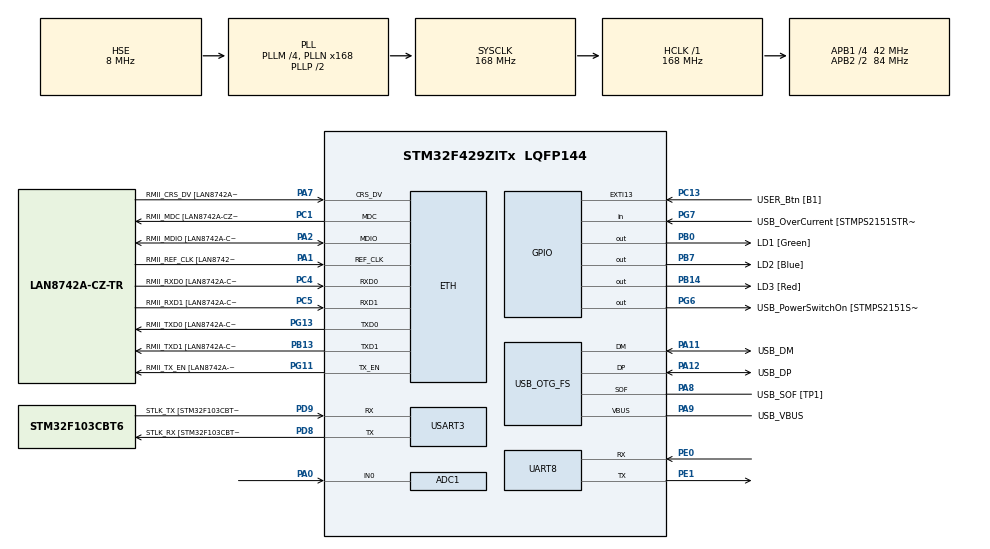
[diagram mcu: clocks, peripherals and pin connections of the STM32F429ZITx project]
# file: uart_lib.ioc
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ADC1.Channel-0\#ChannelRegularConversion=ADC_CHANNEL_0
ADC1.ClockPrescaler=ADC_CLOCK_SYNC_PCLK_DIV8
ADC1.ContinuousConvMode=ENABLE
ADC1.EOCSelection=ADC_EOC_SEQ_CONV
ADC1.NbrOfConversionFlag=1
ADC1.Rank-0\#ChannelRegularConversion=1
ADC1.SamplingTime-0\#ChannelRegularConversion=ADC_SAMPLETIME_3CYCLES
ADC1.master=1
ETH.MediaInterface=HAL_ETH_RMII_MODE
ETH.PHY_Name=LAN8742A_PHY_ADDRESS
ETH.PHY_Value=0
ETH.PhyAddress=0
Mcu.Family=STM32F4
Mcu.Name=STM32F429ZITx
Mcu.Package=LQFP144
NVIC.PriorityGroup=NVIC_PRIORITYGROUP_4
NVIC.UART8_IRQn=true\:0\:0\:false\:false\:true\:true\:true\:true
PA0/WKUP.Signal=ADCx_IN0
PA1.GPIO_Label=RMII_REF_CLK [LAN8742A-CZ-TR_REFCLK0]
PA1.Mode=RMII
PA1.Signal=ETH_REF_CLK
PA10.GPIO_Label=USB_ID
PA10.Signal=USB_OTG_FS_ID
PA11.GPIO_Label=USB_DM
PA11.Mode=Device_Only
PA11.Signal=USB_OTG_FS_DM
PA12.GPIO_Label=USB_DP
PA12.Mode=Device_Only
PA12.Signal=USB_OTG_FS_DP
PA13.GPIO_Label=TMS
PA13.Mode=Trace_Synchro_1bit_SW
PA13.Signal=SYS_JTMS-SWDIO
PA14.GPIO_Label=TCK
PA14.Mode=Trace_Synchro_1bit_SW
PA14.Signal=SYS_JTCK-SWCLK
PA2.GPIO_Label=RMII_MDIO [LAN8742A-CZ-TR_MDIO]
PA2.Mode=RMII
PA2.Signal=ETH_MDIO
PA7.GPIO_Label=RMII_CRS_DV [LAN8742A-CZ-TR_CRS_DV]
PA7.Mode=RMII
PA7.Signal=ETH_CRS_DV
PA8.GPIO_Label=USB_SOF [TP1]
PA8.Mode=Activate_SOF_FS
PA8.Signal=USB_OTG_FS_SOF
PA9.GPIO_Label=USB_VBUS
PA9.Mode=Activate_VBUS
PA9.Signal=USB_OTG_FS_VBUS
PB0.GPIO_Label=LD1 [Green]
PB0.Signal=GPIO_Output
PB13.GPIO_Label=RMII_TXD1 [LAN8742A-CZ-TR_TXD1]
PB13.Mode=RMII
PB13.Signal=ETH_TXD1
PB14.GPIO_Label=LD3 [Red]
PB14.Signal=GPIO_Output
PB7.GPIO_Label=LD2 [Blue]
PB7.Signal=GPIO_Output
PC1.GPIO_Label=RMII_MDC [LAN8742A-CZ-TR_MDC]
PC1.Mode=RMII
PC1.Signal=ETH_MDC
PC13.GPIO_Label=USER_Btn [B1]
PC13.Signal=GPXTI13
PC14/OSC32_IN.Mode=LSE-External-Oscillator
PC14/OSC32_IN.Signal=RCC_OSC32_IN
PC15/OSC32_OUT.Mode=LSE-External-Oscillator
PC15/OSC32_OUT.Signal=RCC_OSC32_OUT
PC4.GPIO_Label=RMII_RXD0 [LAN8742A-CZ-TR_RXD0]
PC4.Mode=RMII
PC4.Signal=ETH_RXD0
PC5.GPIO_Label=RMII_RXD1 [LAN8742A-CZ-TR_RXD1]
PC5.Mode=RMII
PC5.Signal=ETH_RXD1
PD8.GPIO_Label=STLK_RX [STM32F103CBT6_PA3]
PD8.Mode=Asynchronous
PD8.Signal=USART3_TX
PD9.GPIO_Label=STLK_TX [STM32F103CBT6_PA2]
PD9.Mode=Asynchronous
PD9.Signal=USART3_RX
PE0.Mode=Asynchronous
PE0.Signal=UART8_RX
PE1.Mode=Asynchronous
PE1.Signal=UART8_TX
PE2.Mode=Trace_Synchro_1bit_SW
PE2.Signal=SYS_TRACECLK
PE3.Mode=Trace_Synchro_1bit_SW
PE3.Signal=SYS_TRACED0
PG11.GPIO_Label=RMII_TX_EN [LAN8742A-CZ-TR_TXEN]
PG11.Mode=RMII
PG11.Signal=ETH_TX_EN
PG13.GPIO_Label=RMII_TXD0 [LAN8742A-CZ-TR_TXD0]
PG13.Mode=RMII
PG13.Signal=ETH_TXD0
PG6.GPIO_Label=USB_PowerSwitchOn [STMPS2151STR_EN]
PG6.Signal=GPIO_Output
PG7.GPIO_Label=USB_OverCurrent [STMPS2151STR_FAULT]
PG7.Signal=GPIO_Input
PH0/OSC_IN.GPIO_Label=MCO [STM32F103CBT6_PA8]
PH0/OSC_IN.Mode=HSE-External-Clock-Source
PH0/OSC_IN.Signal=RCC_OSC_IN
PH1/OSC_OUT.Mode=HSE-External-Clock-Source
PH1/OSC_OUT.Signal=RCC_OSC_OUT
ProjectManager.HeapSize=0x200
ProjectManager.StackSize=0x400
ProjectManager.TargetToolchain=STM32CubeIDE
RCC.48MHZClocksFreq_Value=48000000
RCC.AHBFreq_Value=168000000
RCC.APB1CLKDivider=RCC_HCLK_DIV4
RCC.APB1Freq_Value=42000000
RCC.APB1TimFreq_Value=84000000
RCC.APB2CLKDivider=RCC_HCLK_DIV2
RCC.APB2Freq_Value=84000000
RCC.APB2TimCLKDivider=2
RCC.APB2TimFreq_Value=168000000
RCC.CortexFreq_Value=168000000
RCC.HCLKFreq_Value=168000000
RCC.HSE_VALUE=8000000
RCC.HSI_VALUE=16000000
RCC.PLLM=4
RCC.PLLMUL=RCC_PLL_MUL9
RCC.PLLN=168
RCC.PLLQ=7
RCC.PRESCALERUSB=RCC_USBCLKSOURCE_PLL_DIV1_5
RCC.SYSCLKFreq_VALUE=168000000
RCC.SYSCLKSource=RCC_SYSCLKSOURCE_PLLCLK
RCC.SYSCLKSourceVirtual=RCC_SYSCLKSOURCE_PLLCLK
RCC.USBFreq_Value=48000000
RCC.VCOOutputFreq_Value=336000000
SH.ADCx_IN0.0=ADC1_IN0,IN0
UART8.VirtualMode=Asynchronous
USART3.VirtualMode=VM_ASYNC
USB_OTG_FS.VirtualMode=Device_Only
board=NUCLEO-F429ZI

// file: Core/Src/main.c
/* USER CODE BEGIN Header */
/**
  ******************************************************************************
  * @file           : main.c
  * @brief          : Main program body
  ******************************************************************************
  * @attention
  *
  * Copyright (c) 2022 STMicroelectronics.
  * All rights reserved.
  *
  * This software is licensed under terms that can be found in the LICENSE file
  * in the root directory of this software component.
  * If no LICENSE file comes with this software, it is provided AS-IS.
  *
  ******************************************************************************
  */
/* USER CODE END Header */
#include "main.h"
#include "string.h"

/* USER CODE BEGIN Includes */

#include <stdlib.h>
#include <stdio.h>
#include "uart_protocol.h"

/* USER CODE END Includes */

/* USER CODE BEGIN PD */

#define MAX_MSG_LENGTH 50

/* USER CODE END PD */

ETH_TxPacketConfig TxConfig;
ETH_DMADescTypeDef  DMARxDscrTab[ETH_RX_DESC_CNT]; /* Ethernet Rx DMA Descriptors */
ETH_DMADescTypeDef  DMATxDscrTab[ETH_TX_DESC_CNT]; /* Ethernet Tx DMA Descriptors */

ADC_HandleTypeDef hadc1;

ETH_HandleTypeDef heth;

UART_HandleTypeDef huart8;
UART_HandleTypeDef huart3;

PCD_HandleTypeDef hpcd_USB_OTG_FS;

/* USER CODE BEGIN PV */

char message[MAX_MSG_LENGTH] = {0};

double actual_azimuth = 0.0, actual_elevation = 0.0;

/* USER CODE END PV */

void SystemClock_Config(void);
static void MX_GPIO_Init(void);
static void MX_ETH_Init(void);
static void MX_USART3_UART_Init(void);
static void MX_USB_OTG_FS_PCD_Init(void);
static void MX_UART8_Init(void);
static void MX_ADC1_Init(void);

/* USER CODE BEGIN 0 */

static void transmit(UART_HandleTypeDef* huart, const char* str) {

	HAL_UART_Transmit(huart, (uint8_t*)str, strlen(str),
					  HAL_MAX_DELAY);
}

static void clean_buffer(char* buffer) {

	for (int i = 0; i < MAX_MSG_LENGTH; ++i)
		buffer[i] = '\0';
}

void request_processing(void) {

	sprintf(message, "Azimuth: %.3lg Elevation: %.3lg\r\n",
			actual_azimuth, actual_elevation);

	transmit(&huart8, message);
	clean_buffer(message);
}

#ifndef UART_TEST
void HAL_UART_RxCpltCallback(UART_HandleTypeDef *huart) {

	if (huart == &huart8) {

		switch (read_command(message)) {
		case Request:
			transmit(&huart8, "Request command received!\r\n");
			request_processing();
			break;

		case SetZero:
			transmit(&huart8, "Set zero command received!\r\n");
			break;

		case SetElev:
			transmit(&huart8, "Set Elevation command received\r\n");
			break;

		case SetAzim:
			transmit(&huart8, "Set Azimuth command received!\r\n");
			break;

		case ClbrADC:
			transmit(&huart8, "ADC calibration started!\r\n");
			break;

		case CMError:
			transmit(&huart8, "Command error!\r\n");

			break;

		default:
			transmit(&huart8, "Command not found!\r\n");

			break;
		}

		clean_buffer(message);
		HAL_UART_Receive_IT(&huart8, (uint8_t*)message, COMMAND_LENGTH);
	}
}
#endif

double adc_val = 0;

double calibr_coef = 360.0 / 4095 * 10;

void calibration(void) {

	uint minv = 5000, maxv = 0;

	transmit(&huart8, "Calibration started!\r\n");

	for (int i = 0; i < 1000; ++i) {

		HAL_Delay(10);
		HAL_ADC_Start(&hadc1);
		if (HAL_ADC_PollForConversion(&hadc1, HAL_MAX_DELAY) != HAL_OK)
			transmit(&huart8, "ADC Error!\r\n");

		uint tmp = (uint)HAL_ADC_GetValue(&hadc1);

		maxv = (tmp > maxv) ? tmp : maxv;
		minv = (tmp < minv) ? tmp : minv;
	}

	calibr_coef = 360.0 / (double)(maxv - minv) * 10;
}

/* USER CODE END 0 */

int main(void)
{

  /* MCU Configuration--------------------------------------------------------*/

  /* Reset of all peripherals, Initializes the Flash interface and the Systick. */
  HAL_Init();

  /* Configure the system clock */
  SystemClock_Config();

  /* Initialize all configured peripherals */
  MX_GPIO_Init();
  MX_ETH_Init();
  MX_USART3_UART_Init();
  MX_USB_OTG_FS_PCD_Init();
  MX_UART8_Init();
  MX_ADC1_Init();
  /* USER CODE BEGIN 2 */

/*#ifndef UART_TEST
  HAL_UART_Receive_IT(&huart8, (uint8_t*)message, COMMAND_LENGTH);
#endif*/

  HAL_Delay(100);

  uart_init(&huart8);

  /* USER CODE END 2 */

  /* Infinite loop */
  /* USER CODE BEGIN WHILE */

  calibration();
  while (1)
  {
	HAL_Delay(500);
	HAL_ADC_Start(&hadc1);
	if (HAL_ADC_PollForConversion(&hadc1, HAL_MAX_DELAY) != HAL_OK)
		return -1;

	adc_val = (double)HAL_ADC_GetValue(&hadc1);

	adc_val *= calibr_coef;

	sprintf(message, "ADC in deg: %d\r\n", (int)adc_val);
	transmit(&huart8, message);
	clean_buffer(message);
    /* USER CODE END WHILE */

    /* USER CODE BEGIN 3 */
#ifdef UART_TEST
	uart_test(&huart8);
#endif
  }
  /* USER CODE END 3 */
}

void SystemClock_Config(void)
{
  RCC_OscInitTypeDef RCC_OscInitStruct = {0};
  RCC_ClkInitTypeDef RCC_ClkInitStruct = {0};

  /** Configure the main internal regulator output voltage
  */
  __HAL_RCC_PWR_CLK_ENABLE();
  __HAL_PWR_VOLTAGESCALING_CONFIG(PWR_REGULATOR_VOLTAGE_SCALE1);

  /** Initializes the RCC Oscillators according to the specified parameters
  * in the RCC_OscInitTypeDef structure.
  */
  RCC_OscInitStruct.OscillatorType = RCC_OSCILLATORTYPE_HSE;
  RCC_OscInitStruct.HSEState = RCC_HSE_BYPASS;
  RCC_OscInitStruct.PLL.PLLState = RCC_PLL_ON;
  RCC_OscInitStruct.PLL.PLLSource = RCC_PLLSOURCE_HSE;
  RCC_OscInitStruct.PLL.PLLM = 4;
  RCC_OscInitStruct.PLL.PLLN = 168;
  RCC_OscInitStruct.PLL.PLLP = RCC_PLLP_DIV2;
  RCC_OscInitStruct.PLL.PLLQ = 7;
  if (HAL_RCC_OscConfig(&RCC_OscInitStruct) != HAL_OK)
  {
    Error_Handler();
  }

  /** Initializes the CPU, AHB and APB buses clocks
  */
  RCC_ClkInitStruct.ClockType = RCC_CLOCKTYPE_HCLK|RCC_CLOCKTYPE_SYSCLK
                              |RCC_CLOCKTYPE_PCLK1|RCC_CLOCKTYPE_PCLK2;
  RCC_ClkInitStruct.SYSCLKSource = RCC_SYSCLKSOURCE_PLLCLK;
  RCC_ClkInitStruct.AHBCLKDivider = RCC_SYSCLK_DIV1;
  RCC_ClkInitStruct.APB1CLKDivider = RCC_HCLK_DIV4;
  RCC_ClkInitStruct.APB2CLKDivider = RCC_HCLK_DIV2;

  if (HAL_RCC_ClockConfig(&RCC_ClkInitStruct, FLASH_LATENCY_5) != HAL_OK)
  {
    Error_Handler();
  }
}

static void MX_ADC1_Init(void)
{

  ADC_ChannelConfTypeDef sConfig = {0};

  /** Configure the global features of the ADC (Clock, Resolution, Data Alignment and number of conversion)
  */
  hadc1.Instance = ADC1;
  hadc1.Init.ClockPrescaler = ADC_CLOCK_SYNC_PCLK_DIV8;
  hadc1.Init.Resolution = ADC_RESOLUTION_12B;
  hadc1.Init.ScanConvMode = DISABLE;
  hadc1.Init.ContinuousConvMode = ENABLE;
  hadc1.Init.DiscontinuousConvMode = DISABLE;
  hadc1.Init.ExternalTrigConvEdge = ADC_EXTERNALTRIGCONVEDGE_NONE;
  hadc1.Init.ExternalTrigConv = ADC_SOFTWARE_START;
  hadc1.Init.DataAlign = ADC_DATAALIGN_RIGHT;
  hadc1.Init.NbrOfConversion = 1;
  hadc1.Init.DMAContinuousRequests = DISABLE;
  hadc1.Init.EOCSelection = ADC_EOC_SEQ_CONV;
  if (HAL_ADC_Init(&hadc1) != HAL_OK)
  {
    Error_Handler();
  }

  /** Configure for the selected ADC regular channel its corresponding rank in the sequencer and its sample time.
  */
  sConfig.Channel = ADC_CHANNEL_0;
  sConfig.Rank = 1;
  sConfig.SamplingTime = ADC_SAMPLETIME_3CYCLES;
  if (HAL_ADC_ConfigChannel(&hadc1, &sConfig) != HAL_OK)
  {
    Error_Handler();
  }

}

static void MX_ETH_Init(void)
{

   static uint8_t MACAddr[6];

  heth.Instance = ETH;
  MACAddr[0] = 0x00;
  MACAddr[1] = 0x80;
  MACAddr[2] = 0xE1;
  MACAddr[3] = 0x00;
  MACAddr[4] = 0x00;
  MACAddr[5] = 0x00;
  heth.Init.MACAddr = &MACAddr[0];
  heth.Init.MediaInterface = HAL_ETH_RMII_MODE;
  heth.Init.TxDesc = DMATxDscrTab;
  heth.Init.RxDesc = DMARxDscrTab;
  heth.Init.RxBuffLen = 1524;

  if (HAL_ETH_Init(&heth) != HAL_OK)
  {
    Error_Handler();
  }

  memset(&TxConfig, 0 , sizeof(ETH_TxPacketConfig));
  TxConfig.Attributes = ETH_TX_PACKETS_FEATURES_CSUM | ETH_TX_PACKETS_FEATURES_CRCPAD;
  TxConfig.ChecksumCtrl = ETH_CHECKSUM_IPHDR_PAYLOAD_INSERT_PHDR_CALC;
  TxConfig.CRCPadCtrl = ETH_CRC_PAD_INSERT;

}

static void MX_UART8_Init(void)
{

  huart8.Instance = UART8;
  huart8.Init.BaudRate = 115200;
  huart8.Init.WordLength = UART_WORDLENGTH_8B;
  huart8.Init.StopBits = UART_STOPBITS_1;
  huart8.Init.Parity = UART_PARITY_NONE;
  huart8.Init.Mode = UART_MODE_TX_RX;
  huart8.Init.HwFlowCtl = UART_HWCONTROL_NONE;
  huart8.Init.OverSampling = UART_OVERSAMPLING_16;
  if (HAL_UART_Init(&huart8) != HAL_OK)
  {
    Error_Handler();
  }

}

static void MX_USART3_UART_Init(void)
{

  huart3.Instance = USART3;
  huart3.Init.BaudRate = 115200;
  huart3.Init.WordLength = UART_WORDLENGTH_8B;
  huart3.Init.StopBits = UART_STOPBITS_1;
  huart3.Init.Parity = UART_PARITY_NONE;
  huart3.Init.Mode = UART_MODE_TX_RX;
  huart3.Init.HwFlowCtl = UART_HWCONTROL_NONE;
  huart3.Init.OverSampling = UART_OVERSAMPLING_16;
  if (HAL_UART_Init(&huart3) != HAL_OK)
  {
    Error_Handler();
  }

}

static void MX_USB_OTG_FS_PCD_Init(void)
{

  hpcd_USB_OTG_FS.Instance = USB_OTG_FS;
  hpcd_USB_OTG_FS.Init.dev_endpoints = 4;
  hpcd_USB_OTG_FS.Init.speed = PCD_SPEED_FULL;
  hpcd_USB_OTG_FS.Init.dma_enable = DISABLE;
  hpcd_USB_OTG_FS.Init.phy_itface = PCD_PHY_EMBEDDED;
  hpcd_USB_OTG_FS.Init.Sof_enable = ENABLE;
  hpcd_USB_OTG_FS.Init.low_power_enable = DISABLE;
  hpcd_USB_OTG_FS.Init.lpm_enable = DISABLE;
  hpcd_USB_OTG_FS.Init.vbus_sensing_enable = ENABLE;
  hpcd_USB_OTG_FS.Init.use_dedicated_ep1 = DISABLE;
  if (HAL_PCD_Init(&hpcd_USB_OTG_FS) != HAL_OK)
  {
    Error_Handler();
  }

}

static void MX_GPIO_Init(void)
{
  GPIO_InitTypeDef GPIO_InitStruct = {0};

  /* GPIO Ports Clock Enable */
  __HAL_RCC_GPIOE_CLK_ENABLE();
  __HAL_RCC_GPIOC_CLK_ENABLE();
  __HAL_RCC_GPIOH_CLK_ENABLE();
  __HAL_RCC_GPIOA_CLK_ENABLE();
  __HAL_RCC_GPIOB_CLK_ENABLE();
  __HAL_RCC_GPIOD_CLK_ENABLE();
  __HAL_RCC_GPIOG_CLK_ENABLE();

  /*Configure GPIO pin Output Level */
  HAL_GPIO_WritePin(GPIOB, LD1_Pin|LD3_Pin|LD2_Pin, GPIO_PIN_RESET);

  /*Configure GPIO pin Output Level */
  HAL_GPIO_WritePin(USB_PowerSwitchOn_GPIO_Port, USB_PowerSwitchOn_Pin, GPIO_PIN_RESET);

  /*Configure GPIO pin : USER_Btn_Pin */
  GPIO_InitStruct.Pin = USER_Btn_Pin;
  GPIO_InitStruct.Mode = GPIO_MODE_IT_RISING;
  GPIO_InitStruct.Pull = GPIO_NOPULL;
  HAL_GPIO_Init(USER_Btn_GPIO_Port, &GPIO_InitStruct);

  /*Configure GPIO pins : LD1_Pin LD3_Pin LD2_Pin */
  GPIO_InitStruct.Pin = LD1_Pin|LD3_Pin|LD2_Pin;
  GPIO_InitStruct.Mode = GPIO_MODE_OUTPUT_PP;
  GPIO_InitStruct.Pull = GPIO_NOPULL;
  GPIO_InitStruct.Speed = GPIO_SPEED_FREQ_LOW;
  HAL_GPIO_Init(GPIOB, &GPIO_InitStruct);

  /*Configure GPIO pin : USB_PowerSwitchOn_Pin */
  GPIO_InitStruct.Pin = USB_PowerSwitchOn_Pin;
  GPIO_InitStruct.Mode = GPIO_MODE_OUTPUT_PP;
  GPIO_InitStruct.Pull = GPIO_NOPULL;
  GPIO_InitStruct.Speed = GPIO_SPEED_FREQ_LOW;
  HAL_GPIO_Init(USB_PowerSwitchOn_GPIO_Port, &GPIO_InitStruct);

  /*Configure GPIO pin : USB_OverCurrent_Pin */
  GPIO_InitStruct.Pin = USB_OverCurrent_Pin;
  GPIO_InitStruct.Mode = GPIO_MODE_INPUT;
  GPIO_InitStruct.Pull = GPIO_NOPULL;
  HAL_GPIO_Init(USB_OverCurrent_GPIO_Port, &GPIO_InitStruct);

}

void Error_Handler(void)
{
  __disable_irq();
  while (1)
  {
  }
}
